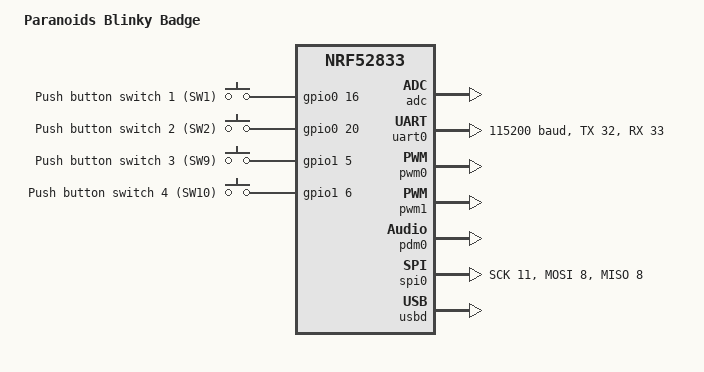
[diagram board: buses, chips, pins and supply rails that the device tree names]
/dts-v1/;
#include <nordic/nrf52833_qiaa.dtsi>

/ {
	model = "Paranoids Blinky Badge";
	compatible = "paranoids,badge";

	chosen {
		zephyr,console = &uart0;
		zephyr,shell-uart = &uart0;
		zephyr,uart-mcumgr = &uart0;
		zephyr,bt-mon-uart = &uart0;
		zephyr,bt-c2h-uart = &uart0;
		zephyr,sram = &sram0;
		zephyr,flash = &flash0;
		zephyr,code-partition = &code_partition;
	};

	buttons {
		compatible = "gpio-keys";
		button1: button_1 {
			gpios = <&gpio0 16 GPIO_PULL_UP>;
			label = "Push button switch 1 (SW1)";
		};
		button2: button_2 {
			gpios = <&gpio0 20 GPIO_PULL_UP>;
			label = "Push button switch 2 (SW2)";
		};
		button3: button_3 {
			gpios = <&gpio1 5 GPIO_PULL_UP>;
			label = "Push button switch 3 (SW9)";
		};
		button4: button_4 {
			gpios = <&gpio1 6 GPIO_PULL_UP>;
			label = "Push button switch 4 (SW10)";
		};
	};
};

flash: &flash0 {
	status = "okay";
	partitions {
		compatible = "fixed-partitions";
		#address-cells = <1>;
		#size-cells = <1>;

		code_partition: partition@0 {
			label = "code";
			reg = <0x000000000 0x7A000>;
		};

		storage_partition: partition@7a000 {
			label = "storage";
			reg = <0x0007A000 0x6000>;
		};
	};
};

&adc {
	status = "okay";
};

&gpiote {
	status = "okay";
};

&gpio0 {
	status = "okay";
};

&gpio1 {
	status = "okay";
};

&uart0 {
	compatible = "nordic,nrf-uart";
	current-speed = <115200>;
	status = "okay";
	tx-pin = <32>;
	rx-pin = <33>;
};

left_eye_pwm: &pwm0 {
	status = "okay";
	ch0-pin = <23>;
	ch1-pin = <2>;
	ch2-pin = <3>;
};

right_eye_pwm: &pwm1 {
	status = "okay";
	ch0-pin = <7>;
	ch1-pin = <6>;
	ch2-pin = <26>;
};

pdm: &pdm0 {
	status = "okay";
	clk-pin = <22>;
	din-pin = <24>;
};

spi_leds: &spi0 {
	compatible = "nordic,nrf-spim";
	status = "okay";
	sck-pin = <11>;
	mosi-pin = <8>;
	miso-pin = <8>;
};

zephyr_udc0: &usbd {
	compatible = "nordic,nrf-usbd";
	status = "okay";
	cdc_acm_uart0 {
		compatible = "zephyr,cdc-acm-uart";
		label = "CDC_ACM_0";
	};
};
